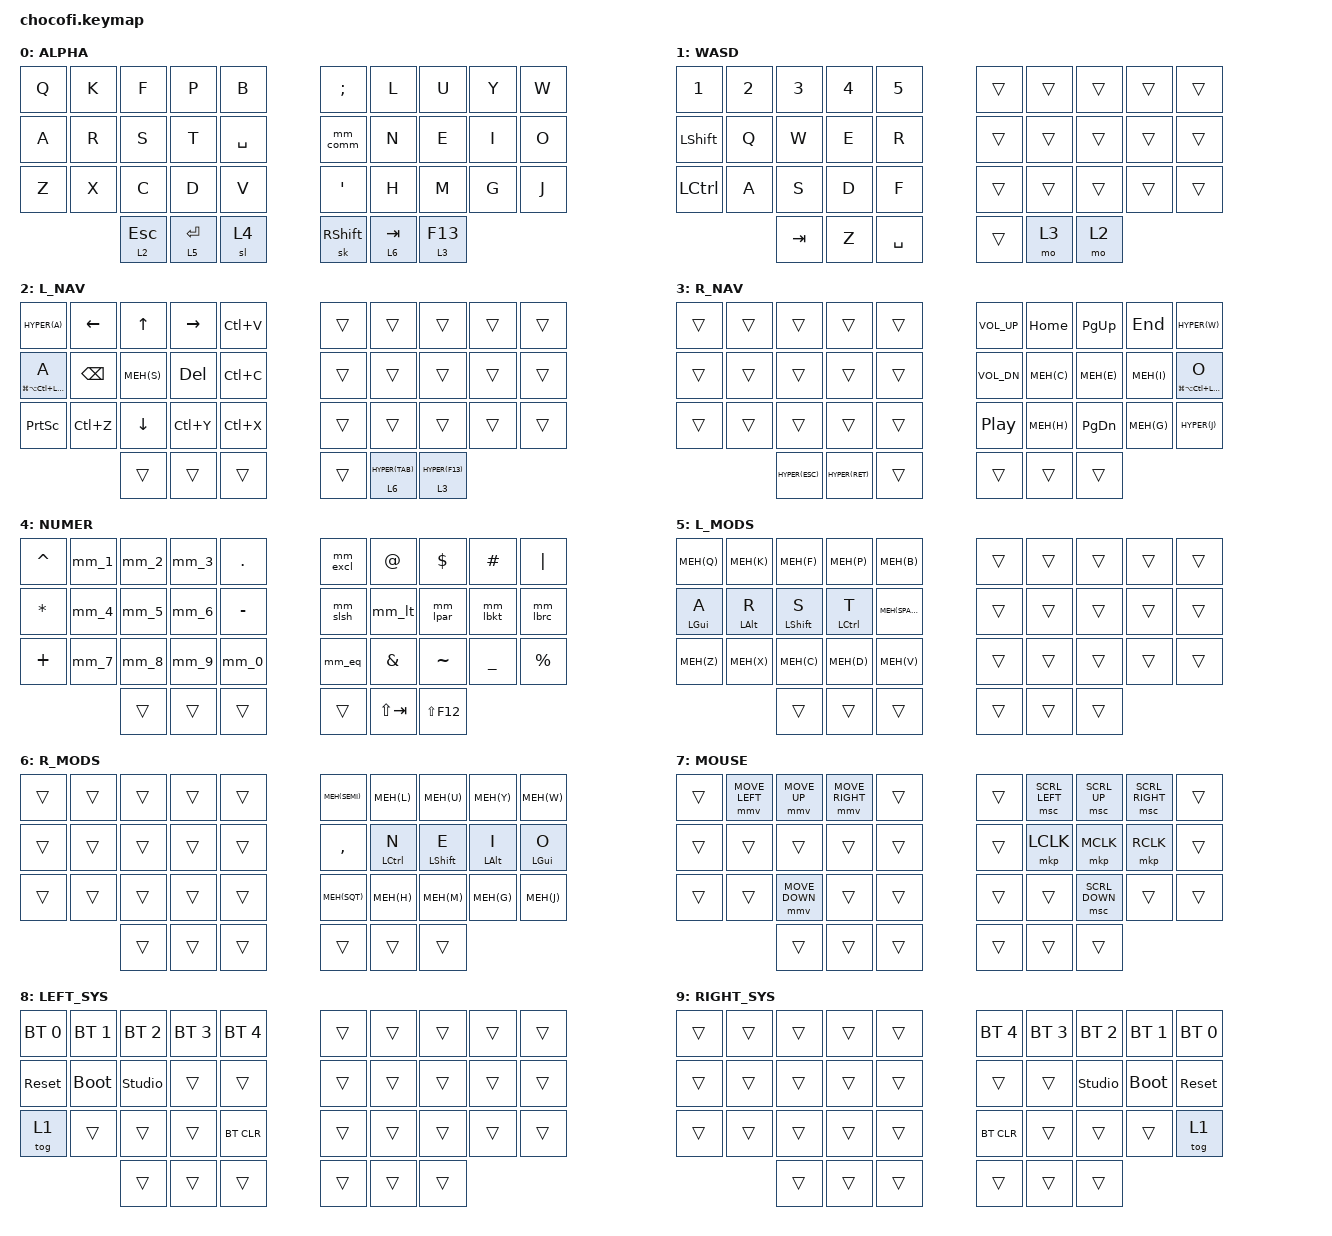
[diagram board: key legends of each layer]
/*
 * Copyright (c) 2020 The ZMK Contributors
 *
 * SPDX-License-Identifier: MIT
 */

#include <behaviors.dtsi>
#include <behaviors/mouse_keys.dtsi>
#include <dt-bindings/zmk/bt.h>
#include <dt-bindings/zmk/keys.h>
#include <dt-bindings/zmk/mouse.h>
#include <dt-bindings/zmk/pointing.h>

/*
 * Modifier Combination Macros
 * These provide shorthand for common modifier combinations
 */

// HYPER = Super + Alt + Ctrl + Shift (all modifiers)
#define HYPER(key) LG(LA(LC(LS(key))))

// MEH = Alt + Ctrl + Shift (all modifiers except Super)
#define MEH(key) LA(LC(LS(key)))

// Standalone modifier holds (for use without a key)
#define HYPER_M LG(LA(LC(LSHIFT)))
#define MEH_M LA(LC(LSHIFT))

/ {
    chosen {
        zmk,physical-layout = &foostan_corne_5col_layout;
    };
};

/ {
    behaviors {
        // Custom layer-tap with hold-preferred flavor
        // Better for layer access keys - activates layer immediately when another key is pressed
        lt_hp: layer_tap_hold_preferred {
            compatible = "zmk,behavior-hold-tap";
            #binding-cells = <2>;
            flavor = "hold-preferred";
            tapping-term-ms = <200>;
            quick-tap-ms = <125>;
            bindings = <&mo>, <&kp>;
            display-name = "Layer-Tap-HP";
        };

        // Sticky-mod on tap, regular mod on hold
        // Tap for sticky modifier, hold for regular modifier
        sm_ht: sticky_mod_hold_tap {
            compatible = "zmk,behavior-hold-tap";
            #binding-cells = <2>;
            flavor = "tap-preferred";
            tapping-term-ms = <200>;
            quick-tap-ms = <125>;
            bindings = <&kp>, <&sk>;
            display-name = "Sticky-Mod-HT";
        };

        // Hold for modifier, tap for HYPER/MEH combo
        // Usage: &ht_mod_hyper LSHIFT HYPER(N)
        // Hold = LSHIFT modifier, Tap = Super+Alt+Ctrl+Shift+N
        hm_thk: hold_mod_tap_hyper_key {
            compatible = "zmk,behavior-hold-tap";
            #binding-cells = <2>;
            flavor = "hold-preferred";
            tapping-term-ms = <150>;
            quick-tap-ms = <125>;
            bindings = <&kp>, <&kp>;
            display-name = "Mod-Hyper-HT";
        };

        hm_tmk: hold_mod_tap_meh_key {
            compatible = "zmk,behavior-hold-tap";
            #binding-cells = <2>;
            flavor = "hold-preferred";
            tapping-term-ms = <150>;
            quick-tap-ms = <125>;
            bindings = <&kp>, <&kp>;
            display-name = "Mod-Meh-HT";
        };

        // Mod-morph behaviors for RSFT key overrides
        // RSFT + number keys -> F-keys
        mm_1: mm_1 {
            compatible = "zmk,behavior-mod-morph";
            label = "MM_1";
            #binding-cells = <0>;
            bindings = <&kp N1>, <&kp F1>;
            mods = <(MOD_RSFT)>;
        };

        mm_2: mm_2 {
            compatible = "zmk,behavior-mod-morph";
            label = "MM_2";
            #binding-cells = <0>;
            bindings = <&kp N2>, <&kp F2>;
            mods = <(MOD_RSFT)>;
        };

        mm_3: mm_3 {
            compatible = "zmk,behavior-mod-morph";
            label = "MM_3";
            #binding-cells = <0>;
            bindings = <&kp N3>, <&kp F3>;
            mods = <(MOD_RSFT)>;
        };

        mm_4: mm_4 {
            compatible = "zmk,behavior-mod-morph";
            label = "MM_4";
            #binding-cells = <0>;
            bindings = <&kp N4>, <&kp F4>;
            mods = <(MOD_RSFT)>;
        };

        mm_5: mm_5 {
            compatible = "zmk,behavior-mod-morph";
            label = "MM_5";
            #binding-cells = <0>;
            bindings = <&kp N5>, <&kp F5>;
            mods = <(MOD_RSFT)>;
        };

        mm_6: mm_6 {
            compatible = "zmk,behavior-mod-morph";
            label = "MM_6";
            #binding-cells = <0>;
            bindings = <&kp N6>, <&kp F6>;
            mods = <(MOD_RSFT)>;
        };

        mm_7: mm_7 {
            compatible = "zmk,behavior-mod-morph";
            label = "MM_7";
            #binding-cells = <0>;
            bindings = <&kp N7>, <&kp F7>;
            mods = <(MOD_RSFT)>;
        };

        mm_8: mm_8 {
            compatible = "zmk,behavior-mod-morph";
            label = "MM_8";
            #binding-cells = <0>;
            bindings = <&kp N8>, <&kp F8>;
            mods = <(MOD_RSFT)>;
        };

        mm_9: mm_9 {
            compatible = "zmk,behavior-mod-morph";
            label = "MM_9";
            #binding-cells = <0>;
            bindings = <&kp N9>, <&kp F9>;
            mods = <(MOD_RSFT)>;
        };

        mm_0: mm_0 {
            compatible = "zmk,behavior-mod-morph";
            label = "MM_0";
            #binding-cells = <0>;
            bindings = <&kp N0>, <&kp F10>;
            mods = <(MOD_RSFT)>;
        };


        // RSFT + symbols -> alternative symbols
        mm_slsh: mm_slsh {
            compatible = "zmk,behavior-mod-morph";
            label = "MM_SLSH";
            #binding-cells = <0>;
            bindings = <&kp SLASH>, <&kp BSLH>;
            mods = <(MOD_RSFT)>;
        };

        mm_comm: mm_comm {
            compatible = "zmk,behavior-mod-morph";
            label = "MM_COMM";
            #binding-cells = <0>;
            bindings = <&kp COMMA>, <&kp DOT>;
            mods = <(MOD_RSFT)>;
        };

        mm_lt: mm_lt {
            compatible = "zmk,behavior-mod-morph";
            label = "MM_LT";
            #binding-cells = <0>;
            bindings = <&kp LT>, <&kp GT>;
            mods = <(MOD_RSFT)>;
        };

        mm_lpar: mm_lpar {
            compatible = "zmk,behavior-mod-morph";
            label = "MM_LPAR";
            #binding-cells = <0>;
            bindings = <&kp LPAR>, <&kp RPAR>;
            mods = <(MOD_RSFT)>;
        };

        mm_lbrc: mm_lbrc {
            compatible = "zmk,behavior-mod-morph";
            label = "MM_LBRC";
            #binding-cells = <0>;
            bindings = <&kp LBRC>, <&kp RBRC>;
            mods = <(MOD_RSFT)>;
        };

        mm_lbkt: mm_lbkt {
            compatible = "zmk,behavior-mod-morph";
            label = "MM_LBKT";
            #binding-cells = <0>;
            bindings = <&kp LBKT>, <&kp RBKT>;
            mods = <(MOD_RSFT)>;
        };

        mm_eq: mm_eq {
            compatible = "zmk,behavior-mod-morph";
            label = "MM_EQ";
            #binding-cells = <0>;
            bindings = <&kp EQUAL>, <&kp PLUS>;
            mods = <(MOD_RSFT)>;
        };

        mm_excl: mm_excl {
            compatible = "zmk,behavior-mod-morph";
            label = "MM_EXCL";
            #binding-cells = <0>;
            bindings = <&kp EXCL>, <&kp QMARK>;
            mods = <(MOD_RSFT)>;
        };
    };



    conditional_layers {
        compatible = "zmk,conditional-layers";
        
        // Activate mouse layer when both LEFT_NAV and RIGHT_NAV are active
        mouse_layer {
            if-layers = <5 6>;  // LEFT_NAV + RIGHT_NAV
            then-layer = <7>;   // MOUSE layer
        };
        

        // Activate system/BT layer when both LEFT_NAV and LEFT_MODS are active
        left_system_layer {
            if-layers = <2 5>;  // LEFT_NAV + LEFT_MODS
            then-layer = <8>;   // LEFT_SYS layer
        };

        right_system_layer {
            if-layers = <3 6>;  // RIGHT_NAV + RIGHT_MODS
            then-layer = <9>;   // RIGHT_SYS Layer
        };
    };

    keymap {
        compatible = "zmk,keymap";

        // Layer 0: ALPHA (Base layer - Colemak-DH variant)
        alpha_layer {
            label = "ALPHA";
            bindings = <
                &kp Q        &kp K        &kp F        &kp P        &kp B            &kp SEMI     &kp L        &kp U        &kp Y        &kp W
                &kp A        &kp R        &kp S        &kp T        &kp SPACE        &mm_comm     &kp N        &kp E        &kp I        &kp O
                &kp Z        &kp X        &kp C        &kp D        &kp V            &kp SQT      &kp H        &kp M        &kp G        &kp J
                             &lt_hp 2 ESC    &lt_hp 5 RET    &sl 4                         &sk RSHIFT   &lt_hp 6 TAB    &lt_hp 3 F13
            >;
        };

        // Layer 1: WASD (Gaming layer)
        wasd_layer {
            label = "WASD";
            bindings = <
                &kp N1       &kp N2       &kp N3       &kp N4       &kp N5           &trans       &trans       &trans       &trans       &trans
                &kp LSHIFT   &kp Q        &kp W        &kp E        &kp R            &trans       &trans       &trans       &trans       &trans
                &kp LCTRL    &kp A        &kp S        &kp D        &kp F            &trans       &trans       &trans       &trans       &trans
                             &kp TAB      &kp Z        &kp SPACE                     &trans       &mo 3        &mo 2
            >;
        };

        // Layer 2: LEFT_NAV
        left_nav_layer {
            label = "L_NAV";
            bindings = <
                &kp HYPER(A)        &kp LEFT     &kp UP       &kp RIGHT    &kp LC(V)        &trans       &trans       &trans       &trans       &trans
                &hm_thk HYPER_M A   &kp BSPC     &kp MEH(S)   &kp DEL      &kp LC(C)        &trans       &trans       &trans       &trans       &trans
                &kp PSCRN           &kp LC(Z)    &kp DOWN     &kp LC(Y)    &kp LC(X)        &trans       &trans       &trans       &trans       &trans
                             &trans       &trans       &trans                         &trans       &lt_hp 6 HYPER(TAB)  &lt_hp 3 HYPER(F13)
            >;
        };

        // Layer 3: RIGHT_NAV
        right_nav_layer {
            label = "R_NAV";
            bindings = <
                &trans       &trans       &trans       &trans       &trans           &kp C_VOL_UP &kp HOME     &kp PG_UP    &kp END      &kp HYPER(W)
                &trans       &trans       &trans       &trans       &trans           &kp C_VOL_DN &kp MEH(C)   &kp MEH(E)   &kp MEH(I)   &hm_thk HYPER_M O
                &trans       &trans       &trans       &trans       &trans           &kp C_PP     &kp MEH(H)   &kp PG_DN    &kp MEH(G)   &kp HYPER(J)
                             &kp HYPER(ESC)       &kp HYPER(RET) &trans                        &trans       &trans       &trans
            >;
        };

        // Layer 4: NUMER (Numbers and symbols)
        numer_layer {
            label = "NUMER";
            bindings = <
                &kp CARET    &mm_1        &mm_2        &mm_3        &kp DOT          &mm_excl     &kp AT       &kp DLLR     &kp HASH     &kp PIPE
                &kp ASTRK    &mm_4        &mm_5        &mm_6        &kp MINUS        &mm_slsh     &mm_lt       &mm_lpar     &mm_lbkt     &mm_lbrc
                &kp PLUS     &mm_7        &mm_8        &mm_9        &mm_0            &mm_eq       &kp AMPS     &kp TILDE    &kp UNDER    &kp PRCNT
                             &trans       &trans       &trans                        &trans       &kp LS(TAB)  &kp LS(F12)
            >;

        };

        // Layer 5: LEFT_MODS
        left_mods_layer {
            label = "L_MODS";
            bindings = <
                &kp MEH(Q)     &kp MEH(K)     &kp MEH(F)       &kp MEH(P)      &kp MEH(B)      &trans &trans &trans &trans &trans
                &hm_tmk LGUI A &hm_tmk LALT R &hm_tmk LSHIFT S &hm_tmk LCTRL T &kp MEH(SPACE)  &trans &trans &trans &trans &trans
                &kp MEH(Z)     &kp MEH(X)     &kp MEH(C)       &kp MEH(D)      &kp MEH(V)      &trans &trans &trans &trans &trans
                             &trans       &trans       &trans                        &trans       &trans       &trans
            >;
        };

        // Layer 6: RIGHT_MODS
        right_mods_layer {
            label = "R_MODS";
            bindings = <
                &trans       &trans       &trans       &trans       &trans           &kp MEH(SEMI)      &kp MEH(L)         &kp MEH(U)         &kp MEH(Y)        &kp MEH(W)
                &trans       &trans       &trans       &trans       &trans           &kp COMMA          &hm_tmk LCTRL N    &hm_tmk LSHIFT E   &hm_tmk LALT I    &hm_tmk LGUI O
                &trans       &trans       &trans       &trans       &trans           &kp MEH(SQT)       &kp MEH(H)         &kp MEH(M)         &kp MEH(G)        &kp MEH(J)
                             &trans       &trans       &trans                        &trans        &trans          &trans
            >;
        };

        // Layer 7: UP_NAV (Mouse navigation)
        up_nav_layer {
            label = "MOUSE";
            bindings = <
               &trans       &mmv MOVE_LEFT  &mmv MOVE_UP    &mmv MOVE_RIGHT  &trans           &trans       &msc SCRL_LEFT     &msc SCRL_UP            &msc SCRL_RIGHT       &trans
               &trans       &trans          &trans          &trans           &trans           &trans       &mkp LCLK          &mkp MCLK               &mkp RCLK             &trans
               &trans       &trans          &mmv MOVE_DOWN  &trans           &trans           &trans       &trans             &msc SCRL_DOWN          &trans                &trans
                             &trans       &trans       &trans                        &trans       &trans       &trans
            >;
        };

        // Layer 8: LEFT_SYS/BT (Bluetooth and system controls - left hand only)
        left_system_layer {
            label = "LEFT_SYS";
            bindings = <
                &bt BT_SEL 0 &bt BT_SEL 1 &bt BT_SEL 2 &bt BT_SEL 3 &bt BT_SEL 4     &trans       &trans       &trans       &trans       &trans
                &sys_reset   &bootloader  &studio_unlock &trans     &trans           &trans       &trans       &trans       &trans       &trans
                &tog 1       &trans       &trans       &trans       &bt BT_CLR       &trans       &trans       &trans       &trans       &trans
                             &trans       &trans       &trans                        &trans       &trans       &trans
            >;
        };

        // Layer 9: RIGHT_SYS/BT (Bluetooth and system controls - right hand only)
        right_system_layer {
            label = "RIGHT_SYS";
            bindings = <
                &trans       &trans       &trans       &trans       &trans           &bt BT_SEL 4     &bt BT_SEL 3 &bt BT_SEL 2   &bt BT_SEL 1    &bt BT_SEL 0
                &trans       &trans       &trans       &trans       &trans           &trans           &trans       &studio_unlock &bootloader     &sys_reset
                &trans       &trans       &trans       &trans       &trans           &bt BT_CLR       &trans       &trans         &trans          &tog 1
                             &trans       &trans       &trans                        &trans       &trans       &trans
            >;
        };
    
    };
};
